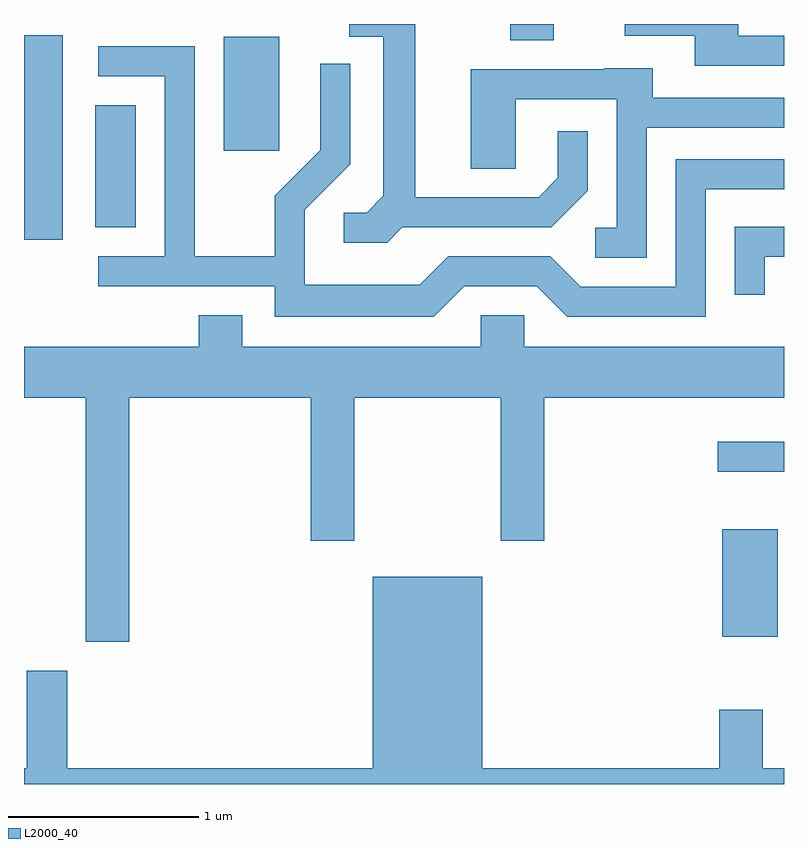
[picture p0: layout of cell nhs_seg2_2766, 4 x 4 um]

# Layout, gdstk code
import gdstk
lib = gdstk.Library(unit=1e-6, precision=1e-09)
def R(c, l, rs):  # rectangles x0, y0, x1, y1
    for r in rs: c.add(gdstk.rectangle(r[:2], r[2:], *l))
def P(c, l, *ps):  # polygons
    for p in ps: c.add(gdstk.Polygon(p, *l))
L2000_40 = (2000, 40)

nhs_seg2_2766 = lib.new_cell('nhs_seg2_2766')
R(nhs_seg2_2766, L2000_40, [(269.286,1082.576,269.579,1083.144), (269.263,1083.446,269.611,1083.604), (265.611,1084.666,265.814,1085.744), (265.986,1084.731,266.199,1085.374), (266.661,1085.136,266.954,1085.734), (268.171,1085.716,268.399,1085.802)])
P(nhs_seg2_2766, L2000_40, [(267.602,1084.731),(268.387,1084.731),(268.579,1084.924),(268.579,1085.238),(268.421,1085.238),(268.421,1084.992),(268.319,1084.889),(267.669,1084.889),(267.669,1085.802),(267.323,1085.802),(267.323,1085.736),(267.501,1085.736),(267.501,1084.897),(267.414,1084.809),(267.293,1084.809),(267.293,1084.651),(267.522,1084.651)],
  [(269.611,1085.739),(269.369,1085.739),(269.369,1085.802),(268.773,1085.802),(268.773,1085.741),(269.141,1085.741),(269.141,1085.581),(269.611,1085.581)],
  [(267.927,1084.421),(268.309,1084.421),(268.469,1084.261),(269.199,1084.261),(269.199,1084.931),(269.611,1084.931),(269.611,1085.089),(269.041,1085.089),(269.041,1084.419),(268.542,1084.419),(268.382,1084.579),(267.844,1084.579),(267.694,1084.429),(267.089,1084.429),(267.089,1084.824),(267.329,1085.064),(267.329,1085.593),(267.171,1085.593),(267.171,1085.137),(266.931,1084.897),(266.931,1084.579),(266.509,1084.579),(266.509,1085.684),(266.003,1085.684),(266.003,1085.526),(266.351,1085.526),(266.351,1084.579),(266.003,1084.579),(266.003,1084.421),(266.931,1084.421),(266.931,1084.261),(267.767,1084.261)],
  [(268.889,1085.256),(269.611,1085.256),(269.611,1085.414),(268.919,1085.414),(268.919,1085.569),(268.665,1085.569),(268.665,1085.564),(267.961,1085.564),(267.961,1085.041),(268.199,1085.041),(268.199,1085.406),(268.731,1085.406),(268.731,1084.729),(268.618,1084.729),(268.618,1084.571),(268.889,1084.571)],
  [(269.509,1084.576),(269.611,1084.576),(269.611,1084.734),(269.351,1084.734),(269.351,1084.378),(269.509,1084.378)],
  [(266.164,1083.836),(267.121,1083.836),(267.121,1083.081),(267.349,1083.081),(267.349,1083.836),(268.121,1083.836),(268.121,1083.081),(268.349,1083.081),(268.349,1083.836),(269.611,1083.836),(269.611,1084.104),(268.244,1084.104),(268.244,1084.269),(268.016,1084.269),(268.016,1084.104),(266.759,1084.104),(266.759,1084.269),(266.531,1084.269),(266.531,1084.104),(265.611,1084.104),(265.611,1083.836),(265.936,1083.836),(265.936,1082.551),(266.164,1082.551)],
  [(269.611,1081.884),(269.499,1081.884),(269.499,1082.194),(269.271,1082.194),(269.271,1081.884),(268.024,1081.884),(268.024,1082.894),(267.446,1082.894),(267.446,1081.884),(265.839,1081.884),(265.839,1082.399),(265.626,1082.399),(265.626,1081.884),(265.611,1081.884),(265.611,1081.802),(269.611,1081.802)])

lib.write_gds('nhs_seg2_2766.gds')
